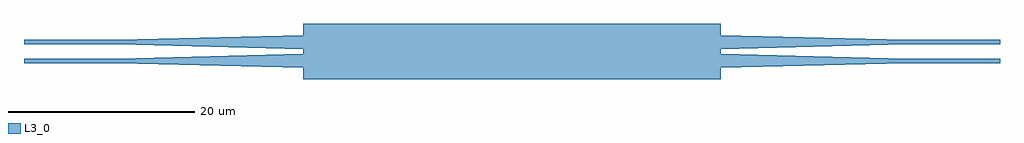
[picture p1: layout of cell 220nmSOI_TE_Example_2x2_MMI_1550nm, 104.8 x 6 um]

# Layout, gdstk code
import gdstk
lib = gdstk.Library(unit=1e-6, precision=1e-09)
def R(c, l, rs):  # rectangles x0, y0, x1, y1
    for r in rs: c.add(gdstk.rectangle(r[:2], r[2:], *l))
def P(c, l, *ps):  # polygons
    for p in ps: c.add(gdstk.Polygon(p, *l))
L3_0 = (3, 0)

c_220nmsoi_te_example_2x2_ = lib.new_cell('220nmSOI_TE_Example_2x2_MMI_1550nm')
R(c_220nmsoi_te_example_2x2_, L3_0, [(-22.4,-3,22.4,3), (-52.4,-1.24,-42.4,-0.79), (42.4,-1.24,52.4,-0.79), (-52.4,0.79,-42.4,1.24), (42.4,0.79,52.4,1.24)])
P(c_220nmsoi_te_example_2x2_, L3_0, [(22.4,-1.765),(22.4,-0.265),(42.4,-0.79),(42.4,-1.24)],
  [(22.4,0.265),(22.4,1.765),(42.4,1.24),(42.4,0.79)],
  [(-22.4,-1.765),(-42.4,-1.24),(-42.4,-0.79),(-22.4,-0.265)],
  [(-22.4,0.265),(-42.4,0.79),(-42.4,1.24),(-22.4,1.765)])

lib.write_gds('220nmSOI_TE_Example_2x2_MMI_1550nm.gds')
